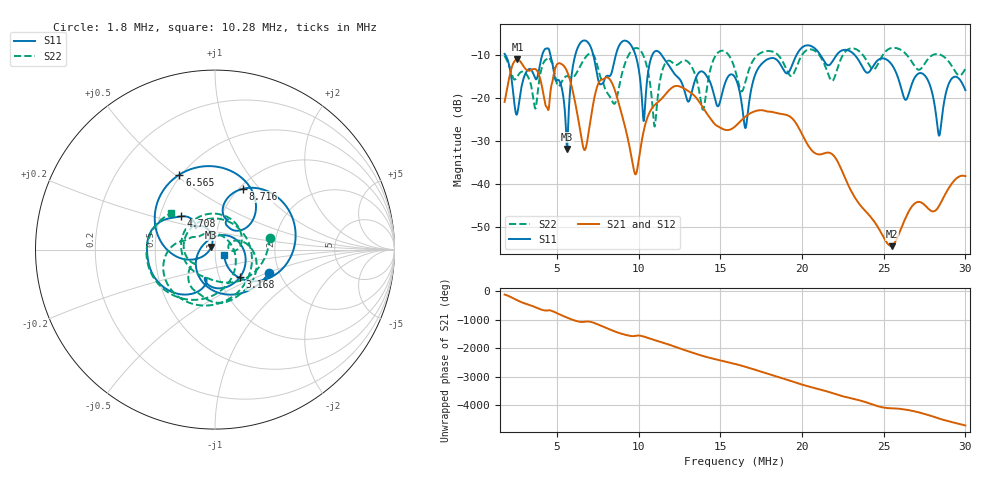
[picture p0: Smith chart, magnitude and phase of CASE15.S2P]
!Agilent Technologies,E5061B,MY49101568,A.02.00
!Date: Wed Mar 01 14:01:19 2023
!Data & Calibration Information:
!Freq	S11:SOLT2(OFF)	S21:SOLT2(OFF)	S12:SOLT2(OFF)	S22:SOLT2(OFF)
# Hz S dB R 50
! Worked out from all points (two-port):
!   1155 points, 1.8 MHz to 30 MHz, reference 50 ohm
!   highest |S21| = -10.96 dB at 2.582 MHz (marker M1); lowest = -54.5 dB at 25.48 MHz (marker M2)
!   |S21| within 3 dB of the highest: 2.156 MHz to 3.838 MHz (1.681 MHz wide, 56.1 % of centre); 4.834 MHz to 5.64 MHz (805.2 kHz wide, 15.4 % of centre)
!   lowest |S11| = -31.9 dB at 5.612 MHz (marker M3), VSWR 1.05, Z = 47.9 + j1.39 ohm
!   |S11| at or under -10 dB: 1.851 MHz to 4.098 MHz (2.247 MHz wide, 75.5 % of centre); 11.41 MHz to 19.66 MHz (8.249 MHz wide, 53.1 % of centre); 23.23 MHz to end of sweep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
!   |S22| runs from -26.6 to -8.3 dB; largest |S21 - S12| = 0.0043
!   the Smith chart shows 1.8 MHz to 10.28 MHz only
!   S11 on the Smith chart (normalised r, x): 1.8 MHz: 1.76, -0.52; 3.168 MHz: 1.25, -0.40; 4.708 MHz: 0.64, +0.26; 6.565 MHz: 0.49, +0.52; 8.716 MHz: 1.04, +0.81; 10.28 MHz: 1.11, -0.06
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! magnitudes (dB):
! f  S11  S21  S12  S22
! 1.8 MHz  -9.7  -20.9  -20.9  -10.2
! 2.582 MHz  -23.5  -11.0  -10.9  -15.0
! 3.168 MHz  -13.7  -13.5  -13.5  -14.6
! 4.708 MHz  -11.6  -16.5  -16.5  -11.8
! 5.612 MHz  -31.9  -13.7  -13.7  -14.9
! 6.516 MHz  -6.8  -29.7  -29.5  -11.9
! 6.565 MHz  -6.7  -30.7  -30.5  -11.6
! 7.64 MHz  -16.8  -15.9  -15.9  -14.8
! 8.716 MHz  -8.6  -20.3  -20.1  -19.1
! 9.766 MHz  -9.5  -37.6  -37.6  -8.4
! 10.28 MHz  -24.5  -28.2  -28.1  -10.0
! 11.21 MHz  -9.2  -20.9  -20.9  -18.5
! 13.04 MHz  -20.8  -18.4  -18.4  -11.6
! 13.95 MHz  -13.9  -22.2  -22.3  -22.7
! 15.9 MHz  -15.2  -26.6  -26.7  -13.4
! 16.54 MHz  -27.0  -24.3  -24.4  -16.2
! 17.49 MHz  -12.2  -22.8  -22.9  -9.5
! 20.62 MHz  -8.0  -32.3  -32.2  -8.7
! 25.31 MHz  -11.4  -54.2  -54.3  -8.6
! 25.48 MHz  -12.1  -54.5  -54.3  -8.3
! 28.39 MHz  -28.8  -45.1  -45.0  -9.8
! 30 MHz  -18.2  -38.2  -38.2  -13.2
